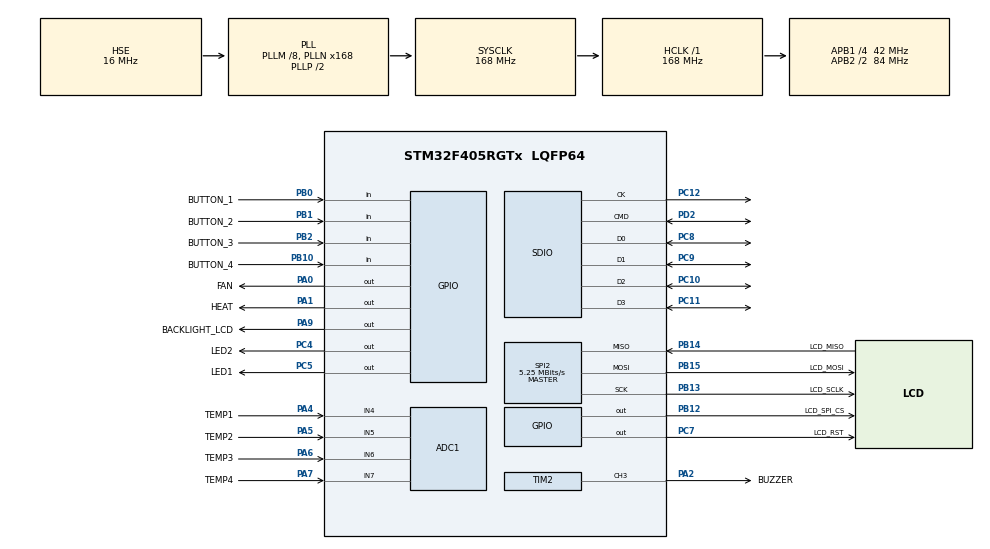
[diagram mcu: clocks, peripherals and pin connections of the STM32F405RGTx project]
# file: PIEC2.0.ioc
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ADC1.Channel-0\#ChannelRegularConversion=ADC_CHANNEL_VREFINT
ADC1.Channel-1\#ChannelRegularConversion=ADC_CHANNEL_TEMPSENSOR
ADC1.Channel-2\#ChannelRegularConversion=ADC_CHANNEL_4
ADC1.Channel-3\#ChannelRegularConversion=ADC_CHANNEL_5
ADC1.Channel-4\#ChannelRegularConversion=ADC_CHANNEL_6
ADC1.Channel-5\#ChannelRegularConversion=ADC_CHANNEL_7
ADC1.ClockPrescaler=ADC_CLOCK_SYNC_PCLK_DIV8
ADC1.NbrOfConversion=6
ADC1.NbrOfConversionFlag=1
ADC1.Rank-0\#ChannelRegularConversion=1
ADC1.Rank-1\#ChannelRegularConversion=2
ADC1.Rank-2\#ChannelRegularConversion=3
ADC1.Rank-3\#ChannelRegularConversion=4
ADC1.Rank-4\#ChannelRegularConversion=5
ADC1.Rank-5\#ChannelRegularConversion=6
ADC1.SamplingTime-0\#ChannelRegularConversion=ADC_SAMPLETIME_112CYCLES
ADC1.SamplingTime-1\#ChannelRegularConversion=ADC_SAMPLETIME_112CYCLES
ADC1.SamplingTime-2\#ChannelRegularConversion=ADC_SAMPLETIME_15CYCLES
ADC1.SamplingTime-3\#ChannelRegularConversion=ADC_SAMPLETIME_15CYCLES
ADC1.SamplingTime-4\#ChannelRegularConversion=ADC_SAMPLETIME_15CYCLES
ADC1.SamplingTime-5\#ChannelRegularConversion=ADC_SAMPLETIME_15CYCLES
ADC1.master=1
Dma.Request0=SDIO_RX
Dma.Request1=SDIO_TX
Dma.SDIO_RX.0.Direction=DMA_PERIPH_TO_MEMORY
Dma.SDIO_RX.0.FIFOMode=DMA_FIFOMODE_ENABLE
Dma.SDIO_RX.0.FIFOThreshold=DMA_FIFO_THRESHOLD_FULL
Dma.SDIO_RX.0.Instance=DMA2_Stream3
Dma.SDIO_RX.0.MemBurst=DMA_MBURST_INC4
Dma.SDIO_RX.0.MemDataAlignment=DMA_MDATAALIGN_WORD
Dma.SDIO_RX.0.MemInc=DMA_MINC_ENABLE
Dma.SDIO_RX.0.Mode=DMA_PFCTRL
Dma.SDIO_RX.0.PeriphBurst=DMA_PBURST_INC4
Dma.SDIO_RX.0.PeriphDataAlignment=DMA_PDATAALIGN_WORD
Dma.SDIO_RX.0.PeriphInc=DMA_PINC_DISABLE
Dma.SDIO_RX.0.Priority=DMA_PRIORITY_LOW
Dma.SDIO_TX.1.Direction=DMA_MEMORY_TO_PERIPH
Dma.SDIO_TX.1.FIFOMode=DMA_FIFOMODE_ENABLE
Dma.SDIO_TX.1.FIFOThreshold=DMA_FIFO_THRESHOLD_FULL
Dma.SDIO_TX.1.Instance=DMA2_Stream6
Dma.SDIO_TX.1.MemBurst=DMA_MBURST_INC4
Dma.SDIO_TX.1.MemDataAlignment=DMA_MDATAALIGN_WORD
Dma.SDIO_TX.1.MemInc=DMA_MINC_ENABLE
Dma.SDIO_TX.1.Mode=DMA_PFCTRL
Dma.SDIO_TX.1.PeriphBurst=DMA_PBURST_INC4
Dma.SDIO_TX.1.PeriphDataAlignment=DMA_PDATAALIGN_WORD
Dma.SDIO_TX.1.PeriphInc=DMA_PINC_DISABLE
Dma.SDIO_TX.1.Priority=DMA_PRIORITY_LOW
FATFS._FS_EXFAT=0
FATFS._FS_LOCK=10
FATFS._FS_RPATH=1
FATFS._USE_CHMOD=0
FATFS._USE_EXPAND=0
FATFS._USE_FIND=1
FATFS._USE_FORWARD=0
FATFS._USE_LABEL=1
FATFS._USE_LFN=3
FATFS._USE_MUTEX=1
FREERTOS.Tasks01=defaultTask,24,128,StartDefaultTask,Default,NULL,Dynamic,NULL,NULL
FREERTOS.configENABLE_FPU=1
FREERTOS.configRECORD_STACK_HIGH_ADDRESS=1
FREERTOS.configTOTAL_HEAP_SIZE=16384
FREERTOS.configUSE_APPLICATION_TASK_TAG=1
IWDG.Prescaler=IWDG_PRESCALER_64
IWDG.Reload=2499
Mcu.Family=STM32F4
Mcu.Name=STM32F405RGTx
Mcu.Package=LQFP64
NVIC.DMA2_Stream3_IRQn=true\:5\:0\:false\:false\:true\:true\:false\:true\:true
NVIC.DMA2_Stream6_IRQn=true\:5\:0\:false\:false\:true\:true\:false\:true\:true
NVIC.PriorityGroup=NVIC_PRIORITYGROUP_4
NVIC.SDIO_IRQn=true\:5\:0\:false\:false\:true\:true\:true\:true\:true
NVIC.TIM6_DAC_IRQn=true\:15\:0\:false\:false\:true\:false\:false\:true\:true
NVIC.TimeBase=TIM6_DAC_IRQn
NVIC.TimeBaseIP=TIM6
PA0-WKUP.GPIO_Label=FAN
PA0-WKUP.Signal=GPIO_Output
PA1.GPIO_Label=HEAT
PA1.Signal=GPIO_Output
PA13.Mode=Serial_Wire
PA13.Signal=SYS_JTMS-SWDIO
PA14.Mode=Serial_Wire
PA14.Signal=SYS_JTCK-SWCLK
PA2.GPIO_Label=BUZZER
PA2.Signal=S_TIM2_CH3
PA4.GPIO_Label=TEMP1
PA4.Signal=ADCx_IN4
PA5.GPIO_Label=TEMP2
PA5.Signal=ADCx_IN5
PA6.GPIO_Label=TEMP3
PA6.Signal=ADCx_IN6
PA7.GPIO_Label=TEMP4
PA7.Signal=ADCx_IN7
PA9.GPIO_Label=BACKLIGHT_LCD
PA9.Signal=GPIO_Output
PB0.GPIO_Label=BUTTON_1
PB0.Signal=GPIO_Input
PB1.GPIO_Label=BUTTON_2
PB1.Signal=GPIO_Input
PB10.GPIO_Label=BUTTON_4
PB10.Signal=GPIO_Input
PB12.GPIO_Label=LCD_SPI_CS
PB12.Signal=GPIO_Output
PB13.GPIO_Label=LCD_SCLK
PB13.Mode=Full_Duplex_Master
PB13.Signal=SPI2_SCK
PB14.GPIO_Label=LCD_MISO
PB14.Mode=Full_Duplex_Master
PB14.Signal=SPI2_MISO
PB15.GPIO_Label=LCD_MOSI
PB15.Mode=Full_Duplex_Master
PB15.Signal=SPI2_MOSI
PB2.GPIO_Label=BUTTON_3
PB2.Signal=GPIO_Input
PC10.Mode=SD_4_bits_Wide_bus
PC10.Signal=SDIO_D2
PC11.Mode=SD_4_bits_Wide_bus
PC11.Signal=SDIO_D3
PC12.Mode=SD_4_bits_Wide_bus
PC12.Signal=SDIO_CK
PC14-OSC32_IN.Mode=LSE-External-Oscillator
PC14-OSC32_IN.Signal=RCC_OSC32_IN
PC15-OSC32_OUT.Mode=LSE-External-Oscillator
PC15-OSC32_OUT.Signal=RCC_OSC32_OUT
PC4.GPIO_Label=LED2
PC4.Signal=GPIO_Output
PC5.GPIO_Label=LED1
PC5.Signal=GPIO_Output
PC7.GPIO_Label=LCD_RST
PC7.Signal=GPIO_Output
PC8.Mode=SD_4_bits_Wide_bus
PC8.Signal=SDIO_D0
PC9.Mode=SD_4_bits_Wide_bus
PC9.Signal=SDIO_D1
PD2.Mode=SD_4_bits_Wide_bus
PD2.Signal=SDIO_CMD
PH0-OSC_IN.Mode=HSE-External-Oscillator
PH0-OSC_IN.Signal=RCC_OSC_IN
PH1-OSC_OUT.Mode=HSE-External-Oscillator
PH1-OSC_OUT.Signal=RCC_OSC_OUT
ProjectManager.HeapSize=0x200
ProjectManager.StackSize=0x400
ProjectManager.TargetToolchain=CMake
RCC.48MHZClocksFreq_Value=48000000
RCC.AHBFreq_Value=168000000
RCC.APB1CLKDivider=RCC_HCLK_DIV4
RCC.APB1Freq_Value=42000000
RCC.APB1TimFreq_Value=84000000
RCC.APB2CLKDivider=RCC_HCLK_DIV2
RCC.APB2Freq_Value=84000000
RCC.APB2TimFreq_Value=168000000
RCC.CortexFreq_Value=168000000
RCC.HCLKFreq_Value=168000000
RCC.HSE_VALUE=16000000
RCC.HSI_VALUE=16000000
RCC.PLLM=8
RCC.PLLN=168
RCC.PLLQ=7
RCC.PLLSourceVirtual=RCC_PLLSOURCE_HSE
RCC.RCC_RTC_Clock_Source=RCC_RTCCLKSOURCE_LSE
RCC.RCC_RTC_Clock_SourceVirtual=RCC_RTCCLKSOURCE_HSE_DIV16
RCC.RCC_RTC_Clock_Source_FROM_HSE=RCC_RTCCLKSOURCE_HSE_DIV16
RCC.SYSCLKFreq_VALUE=168000000
RCC.SYSCLKSource=RCC_SYSCLKSOURCE_PLLCLK
RCC.VCOOutputFreq_Value=336000000
SH.ADCx_IN4.0=ADC1_IN4,IN4
SH.ADCx_IN5.0=ADC1_IN5,IN5
SH.ADCx_IN6.0=ADC1_IN6,IN6
SH.ADCx_IN7.0=ADC1_IN7,IN7
SH.S_TIM2_CH3.0=TIM2_CH3,PWM Generation3 CH3
SPI2.BaudRatePrescaler=SPI_BAUDRATEPRESCALER_8
SPI2.CalculateBaudRate=5.25 MBits/s
SPI2.Direction=SPI_DIRECTION_2LINES
SPI2.Mode=SPI_MODE_MASTER
SPI2.VirtualType=VM_MASTER
TIM10.Prescaler=2687
TIM2.Channel-PWM\ Generation3\ CH3=TIM_CHANNEL_3
TIM2.Period=1000-1
TIM2.Prescaler=0
TIM2.Pulse-PWM\ Generation3\ CH3=500-1
VP_ADC1_TempSens_Input.Mode=IN-TempSens
VP_ADC1_Vbat_Input.Mode=IN-Vbat
VP_ADC1_Vref_Input.Mode=IN-Vrefint
VP_FATFS_VS_SDIO.Mode=SDIO
VP_FREERTOS_VS_CMSIS_V2.Mode=CMSIS_V2
VP_IWDG_VS_IWDG.Mode=IWDG_Activate
VP_RNG_VS_RNG.Mode=RNG_Activate
VP_RTC_VS_RTC_Activate.Mode=RTC_Enabled
VP_RTC_VS_RTC_Calendar.Mode=RTC_Calendar
VP_SYS_VS_tim6.Mode=TIM6
VP_TIM10_VS_ClockSourceINT.Mode=Enable_Timer
VP_TIM2_VS_ClockSourceINT.Mode=Internal
board=custom

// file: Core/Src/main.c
/* USER CODE BEGIN Header */
/**
  ******************************************************************************
  * @file           : main.c
  * @brief          : Main program body
  ******************************************************************************
  * @attention
  *
  * Copyright (c) 2025 STMicroelectronics.
  * All rights reserved.
  *
  * This software is licensed under terms that can be found in the LICENSE file
  * in the root directory of this software component.
  * If no LICENSE file comes with this software, it is provided AS-IS.
  *
  ******************************************************************************
  */

/*
 * TODO:
 * 1. LCD task -> user interface, inplement jokes
 * 2. SD card task -> reading presets, saving logs (maybe .csv files?)
 * 3. Buzzer task -> sound on poweron, error, end of stage and end of backing
 * 4. Buttons input
 *
 * Almost all can be ported from steering wheel system
*/

/* USER CODE END Header */
#include "main.h"
#include "cmsis_os.h"
#include "fatfs.h"

/* USER CODE BEGIN Includes */
#include "data_structs.h"
#include "init_code.h"
#include "tasks.h"
/* USER CODE END Includes */

ADC_HandleTypeDef hadc1;

IWDG_HandleTypeDef hiwdg;

RNG_HandleTypeDef hrng;

RTC_HandleTypeDef hrtc;

SD_HandleTypeDef hsd;
DMA_HandleTypeDef hdma_sdio_rx;
DMA_HandleTypeDef hdma_sdio_tx;

SPI_HandleTypeDef hspi2;

TIM_HandleTypeDef htim2;
TIM_HandleTypeDef htim10;

/* Definitions for defaultTask */
osThreadId_t defaultTaskHandle;
const osThreadAttr_t defaultTask_attributes = {
  .name = "defaultTask",
  .stack_size = 128 * 4,
  .priority = (osPriority_t) osPriorityNormal,
};
/* USER CODE BEGIN PV */

// this "__attribute__((section(".ccmram")))" part forces data to by placed in faster CCMRAM
// This ram is fater but cannot be used for peripetials

// heap alloc for freeRTOS in CCMRAM
uint8_t ucHeap[ configTOTAL_HEAP_SIZE ] __attribute__((section(".ccmram")));

// main data alloc in CCMRAM
furnace_data Furnace __attribute__((section(".ccmram")));

const osThreadAttr_t timeTaskAttr = {
  .name = "time_handler",
  .stack_size = 128 * 2,    // this size is in words, translates to 1Kb
  .priority = (osPriority_t) osPriorityHigh,
};

const osThreadAttr_t tempTaskAttr = {
  .name = "temp_handler",
  .stack_size = 128 * 2,    // 1Kb
  .priority = (osPriority_t) osPriorityHigh,
};

const osThreadAttr_t heat_fanTaskAttr = {
  .name = "heat_fan_handler",
  .stack_size = 128 * 2,    // 1Kb
  .priority = (osPriority_t) osPriorityHigh,
};

const osThreadAttr_t BUZZERTaskAttr = {
  .name = "buzzer_handler",
  .stack_size = 128,        // 0,5Kb (should be enought)
  .priority = (osPriority_t) osPriorityLow,
};

const osThreadAttr_t LCDTaskAttr = {
  .name = "LCD_handler",
  .stack_size = 128 * 4,    // 2Kb
  .priority = (osPriority_t) osPriorityLow,
};

const osThreadAttr_t SDTaskAttr = {
  .name = "SD_handler",
  .stack_size = 128 * 4,    // 2Kb
  .priority = (osPriority_t) osPriorityNormal,
};

/* USER CODE END PV */

void SystemClock_Config(void);
static void MX_GPIO_Init(void);
static void MX_DMA_Init(void);
static void MX_ADC1_Init(void);
static void MX_SDIO_SD_Init(void);
static void MX_TIM2_Init(void);
static void MX_IWDG_Init(void);
static void MX_SPI2_Init(void);
static void MX_TIM10_Init(void);
static void MX_RNG_Init(void);
static void MX_RTC_Init(void);
void StartDefaultTask(void *argument);

int main(void)
{

  /* MCU Configuration--------------------------------------------------------*/

  /* Reset of all peripherals, Initializes the Flash interface and the Systick. */
  HAL_Init();

  /* Configure the system clock */
  SystemClock_Config();

  /* Initialize all configured peripherals */
  MX_GPIO_Init();
  MX_DMA_Init();
  MX_ADC1_Init();
  MX_SDIO_SD_Init();
  MX_TIM2_Init();
  MX_FATFS_Init();
  MX_IWDG_Init();
  MX_SPI2_Init();
  MX_TIM10_Init();
  MX_RNG_Init();
  MX_RTC_Init();
  /* USER CODE BEGIN 2 */

  // Boath diodes blink 3times at start for debug, to be DELETED in release code
  HAL_GPIO_WritePin(LED1_GPIO_Port,  LED1_Pin, 1);
  HAL_GPIO_WritePin(LED2_GPIO_Port,  LED2_Pin, 1);

  for(int i = 0; i < 5; i++){

    HAL_Delay(250);

    HAL_GPIO_TogglePin(LED1_GPIO_Port, LED1_Pin);
    HAL_GPIO_TogglePin(LED2_GPIO_Port, LED2_Pin);

  }

  init_furnace_data(&Furnace);

  /* USER CODE END 2 */

  /* Init scheduler */
  osKernelInitialize();

  /* Create the thread(s) */
  /* creation of defaultTask */
  defaultTaskHandle = osThreadNew(StartDefaultTask, NULL, &defaultTask_attributes);

  /* USER CODE BEGIN RTOS_THREADS */

  Furnace.time_id = osThreadNew(time_handler, &Furnace, &timeTaskAttr);
  Furnace.time_id = osThreadNew(heat_and_fan_handler, &Furnace, &heat_fanTaskAttr);
  Furnace.time_id = osThreadNew(temp_handler, &Furnace, &tempTaskAttr);

  /* USER CODE END RTOS_THREADS */

  /* Start scheduler */
  osKernelStart();

  /* We should never get here as control is now taken by the scheduler */

  /* Infinite loop */
  while (1)
  {

  }
}

void SystemClock_Config(void)
{
  RCC_OscInitTypeDef RCC_OscInitStruct = {0};
  RCC_ClkInitTypeDef RCC_ClkInitStruct = {0};

  /** Configure the main internal regulator output voltage
  */
  __HAL_RCC_PWR_CLK_ENABLE();
  __HAL_PWR_VOLTAGESCALING_CONFIG(PWR_REGULATOR_VOLTAGE_SCALE1);

  /** Initializes the RCC Oscillators according to the specified parameters
  * in the RCC_OscInitTypeDef structure.
  */
  RCC_OscInitStruct.OscillatorType = RCC_OSCILLATORTYPE_LSI|RCC_OSCILLATORTYPE_HSE
                              |RCC_OSCILLATORTYPE_LSE;
  RCC_OscInitStruct.HSEState = RCC_HSE_ON;
  RCC_OscInitStruct.LSEState = RCC_LSE_ON;
  RCC_OscInitStruct.LSIState = RCC_LSI_ON;
  RCC_OscInitStruct.PLL.PLLState = RCC_PLL_ON;
  RCC_OscInitStruct.PLL.PLLSource = RCC_PLLSOURCE_HSE;
  RCC_OscInitStruct.PLL.PLLM = 8;
  RCC_OscInitStruct.PLL.PLLN = 168;
  RCC_OscInitStruct.PLL.PLLP = RCC_PLLP_DIV2;
  RCC_OscInitStruct.PLL.PLLQ = 7;
  if (HAL_RCC_OscConfig(&RCC_OscInitStruct) != HAL_OK)
  {
    Error_Handler();
  }

  /** Initializes the CPU, AHB and APB buses clocks
  */
  RCC_ClkInitStruct.ClockType = RCC_CLOCKTYPE_HCLK|RCC_CLOCKTYPE_SYSCLK
                              |RCC_CLOCKTYPE_PCLK1|RCC_CLOCKTYPE_PCLK2;
  RCC_ClkInitStruct.SYSCLKSource = RCC_SYSCLKSOURCE_PLLCLK;
  RCC_ClkInitStruct.AHBCLKDivider = RCC_SYSCLK_DIV1;
  RCC_ClkInitStruct.APB1CLKDivider = RCC_HCLK_DIV4;
  RCC_ClkInitStruct.APB2CLKDivider = RCC_HCLK_DIV2;

  if (HAL_RCC_ClockConfig(&RCC_ClkInitStruct, FLASH_LATENCY_5) != HAL_OK)
  {
    Error_Handler();
  }
}

static void MX_ADC1_Init(void)
{

  ADC_ChannelConfTypeDef sConfig = {0};

  /** Configure the global features of the ADC (Clock, Resolution, Data Alignment and number of conversion)
  */
  hadc1.Instance = ADC1;
  hadc1.Init.ClockPrescaler = ADC_CLOCK_SYNC_PCLK_DIV8;
  hadc1.Init.Resolution = ADC_RESOLUTION_12B;
  hadc1.Init.ScanConvMode = ENABLE;
  hadc1.Init.ContinuousConvMode = DISABLE;
  hadc1.Init.DiscontinuousConvMode = DISABLE;
  hadc1.Init.ExternalTrigConvEdge = ADC_EXTERNALTRIGCONVEDGE_NONE;
  hadc1.Init.ExternalTrigConv = ADC_SOFTWARE_START;
  hadc1.Init.DataAlign = ADC_DATAALIGN_RIGHT;
  hadc1.Init.NbrOfConversion = 6;
  hadc1.Init.DMAContinuousRequests = DISABLE;
  hadc1.Init.EOCSelection = ADC_EOC_SINGLE_CONV;
  if (HAL_ADC_Init(&hadc1) != HAL_OK)
  {
    Error_Handler();
  }

  /** Configure for the selected ADC regular channel its corresponding rank in the sequencer and its sample time.
  */
  sConfig.Channel = ADC_CHANNEL_VREFINT;
  sConfig.Rank = 1;
  sConfig.SamplingTime = ADC_SAMPLETIME_112CYCLES;
  if (HAL_ADC_ConfigChannel(&hadc1, &sConfig) != HAL_OK)
  {
    Error_Handler();
  }

  /** Configure for the selected ADC regular channel its corresponding rank in the sequencer and its sample time.
  */
  sConfig.Channel = ADC_CHANNEL_TEMPSENSOR;
  sConfig.Rank = 2;
  if (HAL_ADC_ConfigChannel(&hadc1, &sConfig) != HAL_OK)
  {
    Error_Handler();
  }

  /** Configure for the selected ADC regular channel its corresponding rank in the sequencer and its sample time.
  */
  sConfig.Channel = ADC_CHANNEL_4;
  sConfig.Rank = 3;
  sConfig.SamplingTime = ADC_SAMPLETIME_15CYCLES;
  if (HAL_ADC_ConfigChannel(&hadc1, &sConfig) != HAL_OK)
  {
    Error_Handler();
  }

  /** Configure for the selected ADC regular channel its corresponding rank in the sequencer and its sample time.
  */
  sConfig.Channel = ADC_CHANNEL_5;
  sConfig.Rank = 4;
  if (HAL_ADC_ConfigChannel(&hadc1, &sConfig) != HAL_OK)
  {
    Error_Handler();
  }

  /** Configure for the selected ADC regular channel its corresponding rank in the sequencer and its sample time.
  */
  sConfig.Channel = ADC_CHANNEL_6;
  sConfig.Rank = 5;
  if (HAL_ADC_ConfigChannel(&hadc1, &sConfig) != HAL_OK)
  {
    Error_Handler();
  }

  /** Configure for the selected ADC regular channel its corresponding rank in the sequencer and its sample time.
  */
  sConfig.Channel = ADC_CHANNEL_7;
  sConfig.Rank = 6;
  if (HAL_ADC_ConfigChannel(&hadc1, &sConfig) != HAL_OK)
  {
    Error_Handler();
  }

}

static void MX_IWDG_Init(void)
{

  hiwdg.Instance = IWDG;
  hiwdg.Init.Prescaler = IWDG_PRESCALER_64;
  hiwdg.Init.Reload = 2499;
  if (HAL_IWDG_Init(&hiwdg) != HAL_OK)
  {
    Error_Handler();
  }

}

static void MX_RNG_Init(void)
{

  hrng.Instance = RNG;
  if (HAL_RNG_Init(&hrng) != HAL_OK)
  {
    Error_Handler();
  }

}

static void MX_RTC_Init(void)
{

  RTC_TimeTypeDef sTime = {0};
  RTC_DateTypeDef sDate = {0};

  /** Initialize RTC Only
  */
  hrtc.Instance = RTC;
  hrtc.Init.HourFormat = RTC_HOURFORMAT_24;
  hrtc.Init.AsynchPrediv = 127;
  hrtc.Init.SynchPrediv = 255;
  hrtc.Init.OutPut = RTC_OUTPUT_DISABLE;
  hrtc.Init.OutPutPolarity = RTC_OUTPUT_POLARITY_HIGH;
  hrtc.Init.OutPutType = RTC_OUTPUT_TYPE_OPENDRAIN;
  if (HAL_RTC_Init(&hrtc) != HAL_OK)
  {
    Error_Handler();
  }

  /** Initialize RTC and set the Time and Date
  */
  sTime.Hours = 0x0;
  sTime.Minutes = 0x0;
  sTime.Seconds = 0x0;
  sTime.DayLightSaving = RTC_DAYLIGHTSAVING_NONE;
  sTime.StoreOperation = RTC_STOREOPERATION_RESET;
  if (HAL_RTC_SetTime(&hrtc, &sTime, RTC_FORMAT_BCD) != HAL_OK)
  {
    Error_Handler();
  }
  sDate.WeekDay = RTC_WEEKDAY_MONDAY;
  sDate.Month = RTC_MONTH_JANUARY;
  sDate.Date = 0x1;
  sDate.Year = 0x0;

  if (HAL_RTC_SetDate(&hrtc, &sDate, RTC_FORMAT_BCD) != HAL_OK)
  {
    Error_Handler();
  }

}

static void MX_SDIO_SD_Init(void)
{

  hsd.Instance = SDIO;
  hsd.Init.ClockEdge = SDIO_CLOCK_EDGE_RISING;
  hsd.Init.ClockBypass = SDIO_CLOCK_BYPASS_DISABLE;
  hsd.Init.ClockPowerSave = SDIO_CLOCK_POWER_SAVE_DISABLE;
  hsd.Init.BusWide = SDIO_BUS_WIDE_1B;
  hsd.Init.HardwareFlowControl = SDIO_HARDWARE_FLOW_CONTROL_DISABLE;
  hsd.Init.ClockDiv = 0;

}

static void MX_SPI2_Init(void)
{

  /* SPI2 parameter configuration*/
  hspi2.Instance = SPI2;
  hspi2.Init.Mode = SPI_MODE_MASTER;
  hspi2.Init.Direction = SPI_DIRECTION_2LINES;
  hspi2.Init.DataSize = SPI_DATASIZE_8BIT;
  hspi2.Init.CLKPolarity = SPI_POLARITY_LOW;
  hspi2.Init.CLKPhase = SPI_PHASE_1EDGE;
  hspi2.Init.NSS = SPI_NSS_SOFT;
  hspi2.Init.BaudRatePrescaler = SPI_BAUDRATEPRESCALER_8;
  hspi2.Init.FirstBit = SPI_FIRSTBIT_MSB;
  hspi2.Init.TIMode = SPI_TIMODE_DISABLE;
  hspi2.Init.CRCCalculation = SPI_CRCCALCULATION_DISABLE;
  hspi2.Init.CRCPolynomial = 10;
  if (HAL_SPI_Init(&hspi2) != HAL_OK)
  {
    Error_Handler();
  }

}

static void MX_TIM2_Init(void)
{

  TIM_ClockConfigTypeDef sClockSourceConfig = {0};
  TIM_MasterConfigTypeDef sMasterConfig = {0};
  TIM_OC_InitTypeDef sConfigOC = {0};

  htim2.Instance = TIM2;
  htim2.Init.Prescaler = 0;
  htim2.Init.CounterMode = TIM_COUNTERMODE_UP;
  htim2.Init.Period = 1000-1;
  htim2.Init.ClockDivision = TIM_CLOCKDIVISION_DIV1;
  htim2.Init.AutoReloadPreload = TIM_AUTORELOAD_PRELOAD_DISABLE;
  if (HAL_TIM_Base_Init(&htim2) != HAL_OK)
  {
    Error_Handler();
  }
  sClockSourceConfig.ClockSource = TIM_CLOCKSOURCE_INTERNAL;
  if (HAL_TIM_ConfigClockSource(&htim2, &sClockSourceConfig) != HAL_OK)
  {
    Error_Handler();
  }
  if (HAL_TIM_PWM_Init(&htim2) != HAL_OK)
  {
    Error_Handler();
  }
  sMasterConfig.MasterOutputTrigger = TIM_TRGO_RESET;
  sMasterConfig.MasterSlaveMode = TIM_MASTERSLAVEMODE_DISABLE;
  if (HAL_TIMEx_MasterConfigSynchronization(&htim2, &sMasterConfig) != HAL_OK)
  {
    Error_Handler();
  }
  sConfigOC.OCMode = TIM_OCMODE_PWM1;
  sConfigOC.Pulse = 500-1;
  sConfigOC.OCPolarity = TIM_OCPOLARITY_HIGH;
  sConfigOC.OCFastMode = TIM_OCFAST_DISABLE;
  if (HAL_TIM_PWM_ConfigChannel(&htim2, &sConfigOC, TIM_CHANNEL_3) != HAL_OK)
  {
    Error_Handler();
  }
  HAL_TIM_MspPostInit(&htim2);

}

static void MX_TIM10_Init(void)
{

  htim10.Instance = TIM10;
  htim10.Init.Prescaler = 2687;
  htim10.Init.CounterMode = TIM_COUNTERMODE_UP;
  htim10.Init.Period = 65535;
  htim10.Init.ClockDivision = TIM_CLOCKDIVISION_DIV1;
  htim10.Init.AutoReloadPreload = TIM_AUTORELOAD_PRELOAD_DISABLE;
  if (HAL_TIM_Base_Init(&htim10) != HAL_OK)
  {
    Error_Handler();
  }

}

static void MX_DMA_Init(void)
{

  /* DMA controller clock enable */
  __HAL_RCC_DMA2_CLK_ENABLE();

  /* DMA interrupt init */
  /* DMA2_Stream3_IRQn interrupt configuration */
  HAL_NVIC_SetPriority(DMA2_Stream3_IRQn, 5, 0);
  HAL_NVIC_EnableIRQ(DMA2_Stream3_IRQn);
  /* DMA2_Stream6_IRQn interrupt configuration */
  HAL_NVIC_SetPriority(DMA2_Stream6_IRQn, 5, 0);
  HAL_NVIC_EnableIRQ(DMA2_Stream6_IRQn);

}

static void MX_GPIO_Init(void)
{
  GPIO_InitTypeDef GPIO_InitStruct = {0};

  /* GPIO Ports Clock Enable */
  __HAL_RCC_GPIOC_CLK_ENABLE();
  __HAL_RCC_GPIOH_CLK_ENABLE();
  __HAL_RCC_GPIOA_CLK_ENABLE();
  __HAL_RCC_GPIOB_CLK_ENABLE();
  __HAL_RCC_GPIOD_CLK_ENABLE();

  /*Configure GPIO pin Output Level */
  HAL_GPIO_WritePin(GPIOA, FAN_Pin|HEAT_Pin|BACKLIGHT_LCD_Pin, GPIO_PIN_RESET);

  /*Configure GPIO pin Output Level */
  HAL_GPIO_WritePin(GPIOC, LED2_Pin|LED1_Pin|LCD_RST_Pin, GPIO_PIN_RESET);

  /*Configure GPIO pin Output Level */
  HAL_GPIO_WritePin(LCD_SPI_CS_GPIO_Port, LCD_SPI_CS_Pin, GPIO_PIN_RESET);

  /*Configure GPIO pins : FAN_Pin HEAT_Pin BACKLIGHT_LCD_Pin */
  GPIO_InitStruct.Pin = FAN_Pin|HEAT_Pin|BACKLIGHT_LCD_Pin;
  GPIO_InitStruct.Mode = GPIO_MODE_OUTPUT_PP;
  GPIO_InitStruct.Pull = GPIO_NOPULL;
  GPIO_InitStruct.Speed = GPIO_SPEED_FREQ_LOW;
  HAL_GPIO_Init(GPIOA, &GPIO_InitStruct);

  /*Configure GPIO pins : LED2_Pin LED1_Pin LCD_RST_Pin */
  GPIO_InitStruct.Pin = LED2_Pin|LED1_Pin|LCD_RST_Pin;
  GPIO_InitStruct.Mode = GPIO_MODE_OUTPUT_PP;
  GPIO_InitStruct.Pull = GPIO_NOPULL;
  GPIO_InitStruct.Speed = GPIO_SPEED_FREQ_LOW;
  HAL_GPIO_Init(GPIOC, &GPIO_InitStruct);

  /*Configure GPIO pins : BUTTON_1_Pin BUTTON_2_Pin BUTTON_3_Pin BUTTON_4_Pin */
  GPIO_InitStruct.Pin = BUTTON_1_Pin|BUTTON_2_Pin|BUTTON_3_Pin|BUTTON_4_Pin;
  GPIO_InitStruct.Mode = GPIO_MODE_INPUT;
  GPIO_InitStruct.Pull = GPIO_NOPULL;
  HAL_GPIO_Init(GPIOB, &GPIO_InitStruct);

  /*Configure GPIO pin : LCD_SPI_CS_Pin */
  GPIO_InitStruct.Pin = LCD_SPI_CS_Pin;
  GPIO_InitStruct.Mode = GPIO_MODE_OUTPUT_PP;
  GPIO_InitStruct.Pull = GPIO_NOPULL;
  GPIO_InitStruct.Speed = GPIO_SPEED_FREQ_LOW;
  HAL_GPIO_Init(LCD_SPI_CS_GPIO_Port, &GPIO_InitStruct);

  /* USER CODE BEGIN MX_GPIO_Init_2 */

  // sets boath LEDs to high on startup and blinks them 3 times, (kinda usefull for quick and dirty debug)
  HAL_GPIO_WritePin(GPIOC, LED2_Pin|LED1_Pin, GPIO_PIN_SET);

  HAL_Delay(250);
  HAL_GPIO_TogglePin(LED1_GPIO_Port,  LED1_Pin|LED2_Pin);

  HAL_Delay(500);
  HAL_GPIO_TogglePin(LED1_GPIO_Port,  LED1_Pin|LED2_Pin);

  HAL_Delay(500);
  HAL_GPIO_TogglePin(LED1_GPIO_Port,  LED1_Pin|LED2_Pin);

  /* USER CODE END MX_GPIO_Init_2 */
}

void StartDefaultTask(void *argument)
{
  for(;;)
  {
    osDelay(1);
  }
}

void HAL_TIM_PeriodElapsedCallback(TIM_HandleTypeDef *htim)
{
  /* USER CODE BEGIN Callback 0 */

  if(htim->Instance == TIM10){      //wakes ever 1sec, signals time_handler() to take futher actions
    osThreadFlagsSet(Furnace.time_id, 0x01);
  }

  /* USER CODE END Callback 0 */
  if (htim->Instance == TIM6)
  {
    HAL_IncTick();
  }
}

void Error_Handler(void)
{
  __disable_irq();
  while (1)
  {
  }
}
